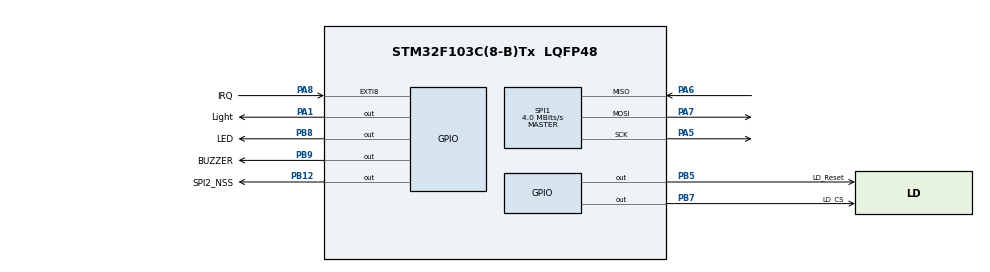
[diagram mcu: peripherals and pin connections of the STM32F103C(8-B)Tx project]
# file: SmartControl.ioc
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Mcu.Family=STM32F1
Mcu.Name=STM32F103C(8-B)Tx
Mcu.Package=LQFP48
NVIC.EXTI9_5_IRQn=true\:0\:0\:false\:false\:true\:true
NVIC.PriorityGroup=NVIC_PRIORITYGROUP_4
PA1.GPIO_Label=Light
PA1.GPIO_Speed=GPIO_SPEED_FREQ_HIGH
PA1.Signal=GPIO_Output
PA13.Mode=Serial_Wire
PA13.Signal=SYS_JTMS-SWDIO
PA14.Mode=Serial_Wire
PA14.Signal=SYS_JTCK-SWCLK
PA5.Mode=Full_Duplex_Master
PA5.Signal=SPI1_SCK
PA6.GPIO_PuPd=GPIO_PULLUP
PA6.Mode=Full_Duplex_Master
PA6.Signal=SPI1_MISO
PA7.Mode=Full_Duplex_Master
PA7.Signal=SPI1_MOSI
PA8.GPIO_Label=IRQ
PA8.GPIO_ModeDefaultEXTI=GPIO_MODE_IT_FALLING
PA8.GPIO_PuPd=GPIO_PULLUP
PA8.Signal=GPXTI8
PB12.GPIO_Label=SPI2_NSS
PB12.GPIO_Speed=GPIO_SPEED_FREQ_HIGH
PB12.PinState=GPIO_PIN_SET
PB12.Signal=GPIO_Output
PB5.GPIO_Label=LD_Reset
PB5.GPIO_Speed=GPIO_SPEED_FREQ_HIGH
PB5.Signal=GPIO_Output
PB7.GPIO_Label=LD_CS
PB7.GPIO_Speed=GPIO_SPEED_FREQ_HIGH
PB7.Signal=GPIO_Output
PB8.GPIO_Label=LED
PB8.GPIO_Speed=GPIO_SPEED_FREQ_HIGH
PB8.Signal=GPIO_Output
PB9.GPIO_Label=BUZZER
PB9.GPIO_Speed=GPIO_SPEED_FREQ_HIGH
PB9.Signal=GPIO_Output
PC14-OSC32_IN.Mode=LSE-External-Oscillator
PC14-OSC32_IN.Signal=RCC_OSC32_IN
PC15-OSC32_OUT.Mode=LSE-External-Oscillator
PC15-OSC32_OUT.Signal=RCC_OSC32_OUT
PD0-OSC_IN.Mode=HSE-External-Oscillator
PD0-OSC_IN.Signal=RCC_OSC_IN
PD1-OSC_OUT.Mode=HSE-External-Oscillator
PD1-OSC_OUT.Signal=RCC_OSC_OUT
ProjectManager.HeapSize=0x200
ProjectManager.StackSize=0x400
ProjectManager.TargetToolchain=EWARM V8
RCC.APB1Freq_Value=8000000
RCC.APB2Freq_Value=8000000
SPI1.CLKPolarity=SPI_POLARITY_HIGH
SPI1.CalculateBaudRate=4.0 MBits/s
SPI1.Direction=SPI_DIRECTION_2LINES
SPI1.Mode=SPI_MODE_MASTER
SPI1.VirtualType=VM_MASTER
board=custom

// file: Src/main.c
/**
  ******************************************************************************
  * @file           : main.c
  * @brief          : Main program body
  ******************************************************************************
  ** This notice applies to any and all portions of this file
  * that are not between comment pairs USER CODE BEGIN and
  * USER CODE END. Other portions of this file, whether
  * inserted by the user or by software development tools
  * are owned by their respective copyright owners.
  *
  * COPYRIGHT(c) 2019 STMicroelectronics
  *
  * Redistribution and use in source and binary forms, with or without modification,
  * are permitted provided that the following conditions are met:
  *   1. Redistributions of source code must retain the above copyright notice,
  *      this list of conditions and the following disclaimer.
  *   2. Redistributions in binary form must reproduce the above copyright notice,
  *      this list of conditions and the following disclaimer in the documentation
  *      and/or other materials provided with the distribution.
  *   3. Neither the name of STMicroelectronics nor the names of its contributors
  *      may be used to endorse or promote products derived from this software
  *      without specific prior written permission.
  *
  * THIS SOFTWARE IS PROVIDED BY THE COPYRIGHT HOLDERS AND CONTRIBUTORS "AS IS"
  * AND ANY EXPRESS OR IMPLIED WARRANTIES, INCLUDING, BUT NOT LIMITED TO, THE
  * IMPLIED WARRANTIES OF MERCHANTABILITY AND FITNESS FOR A PARTICULAR PURPOSE ARE
  * DISCLAIMED. IN NO EVENT SHALL THE COPYRIGHT HOLDER OR CONTRIBUTORS BE LIABLE
  * FOR ANY DIRECT, INDIRECT, INCIDENTAL, SPECIAL, EXEMPLARY, OR CONSEQUENTIAL
  * DAMAGES (INCLUDING, BUT NOT LIMITED TO, PROCUREMENT OF SUBSTITUTE GOODS OR
  * SERVICES; LOSS OF USE, DATA, OR PROFITS; OR BUSINESS INTERRUPTION) HOWEVER
  * CAUSED AND ON ANY THEORY OF LIABILITY, WHETHER IN CONTRACT, STRICT LIABILITY,
  * OR TORT (INCLUDING NEGLIGENCE OR OTHERWISE) ARISING IN ANY WAY OUT OF THE USE
  * OF THIS SOFTWARE, EVEN IF ADVISED OF THE POSSIBILITY OF SUCH DAMAGE.
  *
  ******************************************************************************
  */
#include "main.h"
#include "stm32f1xx_hal.h"
#include "spi.h"
#include "gpio.h"

/* USER CODE BEGIN Includes */
#include "ld3320.h"
#include "control.h"
/* USER CODE END Includes */

/* USER CODE BEGIN PV */
/* Private variables ---------------------------------------------------------*/

/* USER CODE END PV */

void SystemClock_Config(void);

/* USER CODE BEGIN PFP */
/* Private function prototypes -----------------------------------------------*/

/* USER CODE END PFP */

int main(void)
{

  /* MCU Configuration----------------------------------------------------------*/

  /* Reset of all peripherals, Initializes the Flash interface and the Systick. */
  HAL_Init();

  /* Configure the system clock */
  SystemClock_Config();

  /* Initialize all configured peripherals */
  MX_GPIO_Init();
  MX_SPI1_Init();
  /* USER CODE BEGIN 2 */
  //
  ldReset();
  //ldCommandInit();
  ldAsrInit();
  ldAddAntistop();
  /* USER CODE END 2 */

  /* Infinite loop */
  while (1)
  {

  /* USER CODE BEGIN 3 */

      if( ldMode == LD_MODE_IDLE )
      {
          ldAsrInit();
          ldAddAntistop();
          ldAsrStart();
      }
      if( weakStatus )
      {
          static uint32_t time = 0;
          if( time == 0 )
          {
              time = HAL_GetTick();
          }
          else if( HAL_GetTick() - time >= 1 )
          {
              time = HAL_GetTick();
              if( --weakStatus == 0)
              {
                  time = 0;
              }
          }
      }
  }
  /* USER CODE END 3 */

}

void SystemClock_Config(void)
{

  RCC_OscInitTypeDef RCC_OscInitStruct;
  RCC_ClkInitTypeDef RCC_ClkInitStruct;

    /**Initializes the CPU, AHB and APB busses clocks
    */
  RCC_OscInitStruct.OscillatorType = RCC_OSCILLATORTYPE_HSI;
  RCC_OscInitStruct.HSIState = RCC_HSI_ON;
  RCC_OscInitStruct.HSICalibrationValue = 16;
  RCC_OscInitStruct.PLL.PLLState = RCC_PLL_NONE;
  if (HAL_RCC_OscConfig(&RCC_OscInitStruct) != HAL_OK)
  {
    _Error_Handler(__FILE__, __LINE__);
  }

    /**Initializes the CPU, AHB and APB busses clocks
    */
  RCC_ClkInitStruct.ClockType = RCC_CLOCKTYPE_HCLK|RCC_CLOCKTYPE_SYSCLK
                              |RCC_CLOCKTYPE_PCLK1|RCC_CLOCKTYPE_PCLK2;
  RCC_ClkInitStruct.SYSCLKSource = RCC_SYSCLKSOURCE_HSI;
  RCC_ClkInitStruct.AHBCLKDivider = RCC_SYSCLK_DIV1;
  RCC_ClkInitStruct.APB1CLKDivider = RCC_HCLK_DIV1;
  RCC_ClkInitStruct.APB2CLKDivider = RCC_HCLK_DIV1;

  if (HAL_RCC_ClockConfig(&RCC_ClkInitStruct, FLASH_LATENCY_0) != HAL_OK)
  {
    _Error_Handler(__FILE__, __LINE__);
  }

    /**Configure the Systick interrupt time
    */
  HAL_SYSTICK_Config(HAL_RCC_GetHCLKFreq()/1000);

    /**Configure the Systick
    */
  HAL_SYSTICK_CLKSourceConfig(SYSTICK_CLKSOURCE_HCLK);

  /* SysTick_IRQn interrupt configuration */
  HAL_NVIC_SetPriority(SysTick_IRQn, 0, 0);
}

void _Error_Handler(char *file, int line)
{
  while(1)
  {
  }
}

/************************ (C) COPYRIGHT STMicroelectronics *****END OF FILE****/
